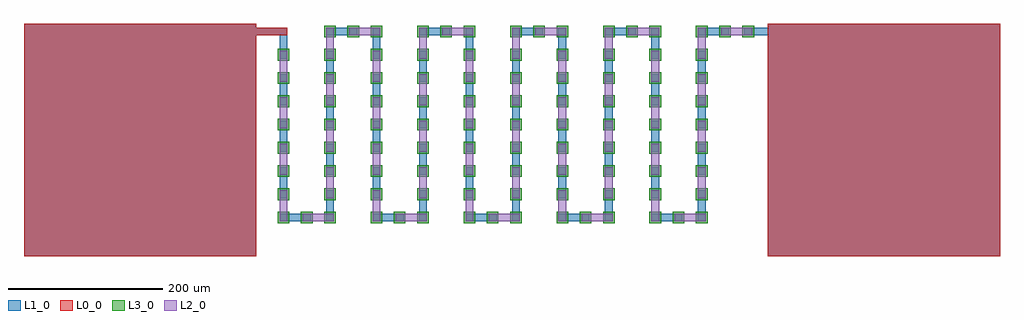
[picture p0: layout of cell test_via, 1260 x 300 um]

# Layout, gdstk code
import gdstk
lib = gdstk.Library(unit=1e-6, precision=1e-09)
def R(c, l, rs):  # rectangles x0, y0, x1, y1
    for r in rs: c.add(gdstk.rectangle(r[:2], r[2:], *l))
def A(c, l, x, y, w, h, nx, ny, dx, dy):  # array of equal rectangles
    R(c, l, [(x+i*dx, y+j*dy, x+i*dx+w, y+j*dy+h) for i in range(nx) for j in range(ny)])
L0_0 = (0, 0)
L1_0 = (1, 0)
L2_0 = (2, 0)
L3_0 = (3, 0)

test_via = lib.new_cell('test_via')
R(test_via, L0_0, [(0,0,300,300), (960,0,1260,300), (300,285,330,295), (330,285,340,295)])
A(test_via, L1_0, 330, 45, 40, 10, 5, 1, 120, 0)
A(test_via, L1_0, 390, 45, 10, 40, 5, 4, 120, 60)
A(test_via, L1_0, 330, 75, 10, 40, 5, 4, 120, 60)
A(test_via, L1_0, 390, 285, 40, 10, 5, 1, 120, 0)
R(test_via, L1_0, [(0,0,300,300), (960,0,1260,300), (300,285,330,295), (330,285,340,295), (930,285,960,295), (930,285,960,295)])
A(test_via, L2_0, 330, 45, 10, 40, 5, 4, 120, 60)
A(test_via, L2_0, 360, 45, 40, 10, 5, 1, 120, 0)
A(test_via, L2_0, 390, 75, 10, 40, 5, 4, 120, 60)
A(test_via, L2_0, 420, 285, 40, 10, 5, 1, 120, 0)
A(test_via, L3_0, 327.5, 42.5, 15, 15, 3, 1, 30, 0)
A(test_via, L3_0, 447.5, 42.5, 15, 15, 3, 1, 30, 0)
A(test_via, L3_0, 567.5, 42.5, 15, 15, 3, 1, 30, 0)
A(test_via, L3_0, 687.5, 42.5, 15, 15, 3, 1, 30, 0)
A(test_via, L3_0, 807.5, 42.5, 15, 15, 3, 1, 30, 0)
A(test_via, L3_0, 327.5, 72.5, 15, 15, 10, 7, 60, 30)
A(test_via, L3_0, 387.5, 282.5, 15, 15, 3, 1, 30, 0)
A(test_via, L3_0, 507.5, 282.5, 15, 15, 3, 1, 30, 0)
A(test_via, L3_0, 627.5, 282.5, 15, 15, 3, 1, 30, 0)
A(test_via, L3_0, 747.5, 282.5, 15, 15, 3, 1, 30, 0)
A(test_via, L3_0, 867.5, 282.5, 15, 15, 3, 1, 30, 0)

lib.write_gds('test_via.gds')
